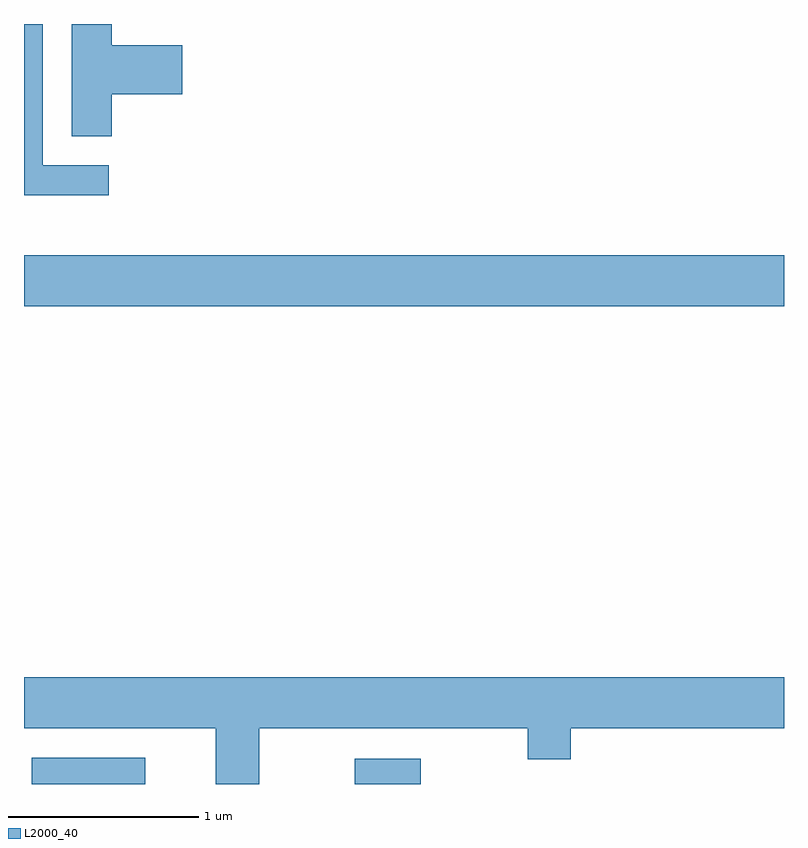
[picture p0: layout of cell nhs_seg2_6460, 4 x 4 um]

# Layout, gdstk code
import gdstk
lib = gdstk.Library(unit=1e-6, precision=1e-09)
def R(c, l, rs):  # rectangles x0, y0, x1, y1
    for r in rs: c.add(gdstk.rectangle(r[:2], r[2:], *l))
def P(c, l, *ps):  # polygons
    for p in ps: c.add(gdstk.Polygon(p, *l))
L2000_40 = (2000, 40)

nhs_seg2_6460 = lib.new_cell('nhs_seg2_6460')
R(nhs_seg2_6460, L2000_40, [(375.651,1045.802,376.248,1045.939), (377.351,1045.802,377.698,1045.934), (375.611,1048.316,379.611,1048.584)])
P(nhs_seg2_6460, L2000_40, [(376.058,1049.059),(375.709,1049.059),(375.709,1049.802),(375.611,1049.802),(375.611,1048.901),(376.058,1048.901)],
  [(376.074,1049.431),(376.444,1049.431),(376.444,1049.689),(376.074,1049.689),(376.074,1049.802),(375.861,1049.802),(375.861,1049.211),(376.074,1049.211)],
  [(376.849,1046.096),(378.261,1046.096),(378.261,1045.931),(378.489,1045.931),(378.489,1046.096),(379.611,1046.096),(379.611,1046.364),(375.611,1046.364),(375.611,1046.096),(376.621,1046.096),(376.621,1045.802),(376.849,1045.802)])

lib.write_gds('nhs_seg2_6460.gds')
